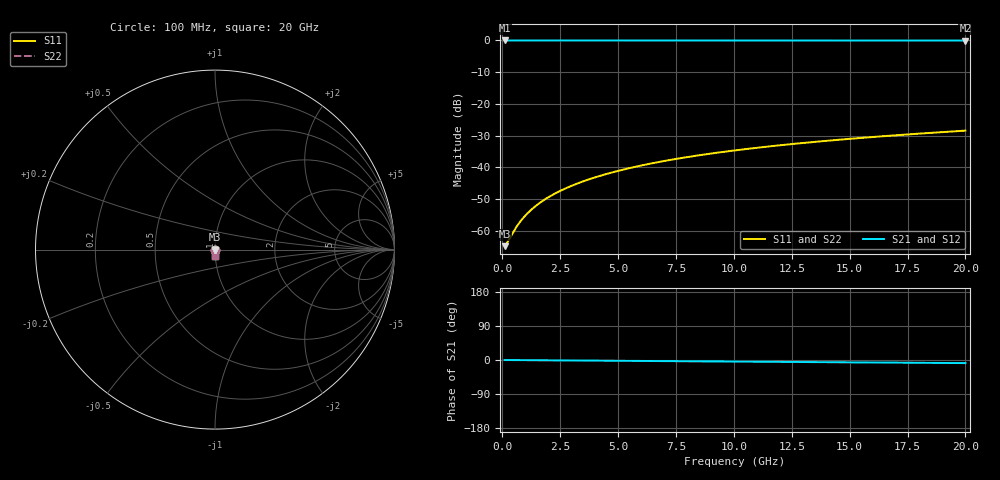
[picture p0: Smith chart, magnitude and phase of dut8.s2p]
! Touchstone file exported from HFSS 2026.1.0
!  File:  C:/ffzhzh/LocalFiles/Ansys_Project_Files/temp_train_TSV_8_1782957878_6388.aedt
!  Generated:  10:06:18 AM Jul  2, 2026
!  Design:  TSV
!  Project:  temp_train_TSV_8_1782957878_6388
! Variables:
!  h_bsmrdl = 2um
!  h_ox = 20um
!  h_rdl = 5um
!  h_sub = 87.28um
!  h_tmrdl = 5um
!  h_tsv = 87.28um
!  h_via = 3um
!  l_bsmrdl = 300um
!  l_sub = 408.8um
!  l_tmrdl = 200um
!  m_sub = 200um
!  pitch = 13.91um
!  r_tsv = 4.4um
!  s_tmrdl = 10um
!  w_bsmrdl = 18um
!  w_sub = 500um
!  w_tmrdl = 12um
!  x_tsv_center1 = 206um
!  x_tsv_center2 = 524um
!  x_tsv_center3 = 736um
!  x_tsv_center4 = 1054um
!  x_tsv_center5 = 1266um
!  x_tsv_center6 = 1584um
# GHz S MA R 50.000000
! Terminal data exported
! Port[1] = TSV1_1_T1
! Port[2] = TSV1_1_T2
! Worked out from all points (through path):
!   200 points, 100 MHz to 20 GHz, reference 50 ohm
!   highest |S21| = 0.00 dB at 100 MHz (marker M1); lowest = 0.0 dB at 20 GHz (marker M2)
!   group delay of S21, straight-line fit = 1.13 ps
!   lowest |S11| = -64.9 dB at 100 MHz (marker M3), VSWR 1.00, Z = 50.1 - j0.0114 ohm
!   |S11| at or under -10 dB: start of sweep to end of sweep
!   |S22| runs from -64.9 to -28.5 dB; largest |S21 - S12| = 1.2e-15
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0.1  0.0005673 -11.5  0.9994 -0.0  0.9994 -0.0  0.0005673 -11.5
! Gamma 0 0 0 0
! Port Impedance 50 0 50 0
0.2  0.0006348 -22.5  0.9994 -0.1  0.9994 -0.1  0.0006348 -22.5
0.5  0.0009843 -46.6  0.9993 -0.2  0.9993 -0.2  0.0009843 -46.6
0.6  0.001125 -51.7  0.9993 -0.3  0.9993 -0.3  0.001125 -51.7
0.8  0.001422 -59.2  0.9993 -0.3  0.9993 -0.3  0.001422 -59.2
0.9  0.001576 -62.0  0.9992 -0.4  0.9992 -0.4  0.001576 -62.0
1.1  0.00189 -66.2  0.9992 -0.5  0.9992 -0.5  0.00189 -66.2
1.4  0.002374 -70.4  0.9992 -0.6  0.9992 -0.6  0.002374 -70.4
1.8  0.003035 -74.0  0.9991 -0.8  0.9991 -0.8  0.003035 -74.0
2.3  0.003881 -76.6  0.999 -1.0  0.999 -1.0  0.003881 -76.6
2.9  0.004923 -78.6  0.9989 -1.2  0.9989 -1.2  0.004923 -78.6
3.5  0.005991 -80.0  0.9988 -1.5  0.9988 -1.5  0.005991 -80.0
4.2  0.007263 -81.2  0.9986 -1.8  0.9986 -1.8  0.007263 -81.2
5  0.008746 -82.3  0.9985 -2.1  0.9985 -2.1  0.008746 -82.3
5.9  0.01044 -83.4  0.9983 -2.5  0.9983 -2.5  0.01044 -83.4
6.8  0.01216 -84.4  0.9981 -2.8  0.9981 -2.8  0.01216 -84.4
8.3  0.01504 -85.8  0.9979 -3.4  0.9979 -3.4  0.01504 -85.8
10.1  0.01852 -87.3  0.9976 -4.2  0.9976 -4.2  0.01852 -87.3
11.7  0.02161 -88.5  0.9974 -4.8  0.9974 -4.8  0.02161 -88.5
13.4  0.02491 -89.7  0.9971 -5.5  0.9971 -5.5  0.02491 -89.7
16.7  0.03131 -91.7  0.9967 -6.9  0.9967 -6.9  0.03131 -91.7
20  0.03773 -93.4  0.9961 -8.2  0.9961 -8.2  0.03773 -93.4
